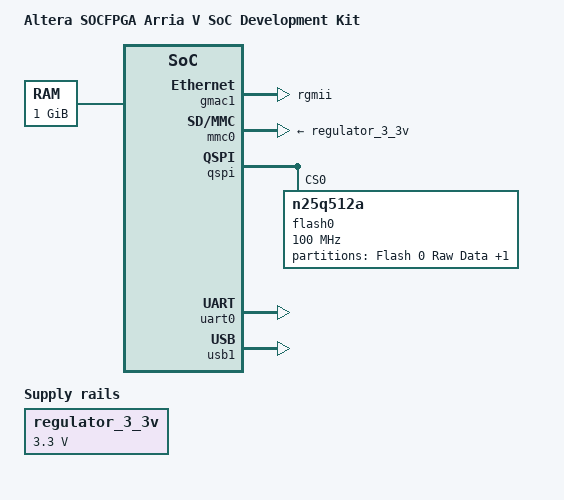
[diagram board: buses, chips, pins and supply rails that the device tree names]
/*
 *  Copyright (C) 2013 Altera Corporation <www.altera.com>
 *
 * This program is free software; you can redistribute it and/or modify
 * it under the terms of the GNU General Public License as published by
 * the Free Software Foundation; either version 2 of the License, or
 * (at your option) any later version.
 *
 * This program is distributed in the hope that it will be useful,
 * but WITHOUT ANY WARRANTY; without even the implied warranty of
 * MERCHANTABILITY or FITNESS FOR A PARTICULAR PURPOSE.  See the
 * GNU General Public License for more details.
 *
 * You should have received a copy of the GNU General Public License
 * along with this program.  If not, see <http://www.gnu.org/licenses/>.
 */

#include "socfpga_arria5.dtsi"

/ {
	model = "Altera SOCFPGA Arria V SoC Development Kit";
	compatible = "altr,socfpga-arria5", "altr,socfpga";

	chosen {
		bootargs = "earlyprintk";
		stdout-path = "serial0:115200n8";
	};

	memory {
		name = "memory";
		device_type = "memory";
		reg = <0x0 0x40000000>; /* 1GB */
	};

	aliases {
		/* this allow the ethaddr uboot environmnet variable contents
		* to be added to the gmac1 device tree blob.
		*/
		ethernet0 = &gmac1;
	};

	regulator_3_3v: 3-3-v-regulator {
		compatible = "regulator-fixed";
		regulator-name = "3.3V";
		regulator-min-microvolt = <3300000>;
		regulator-max-microvolt = <3300000>;
	};

	soc {
		clkmgr@ffd04000 {
			clocks {
				#clock-cells = <0>;
							   
				clk_0: clk_0 {
					compatible = "fixed-clock";	
					clock-frequency = <50000000>;
					clock-output-names = "clk_0-clk";
				};
				
				fft_sub_clk_0: fft_sub_clk_0 {
					compatible = "fixed-clock";
					clock-frequency = <50000000>;
					clock-output-names = "fft_sub_clk_0-clk";
				}; 
							
			};
		};
	
		base_fpga_region: base-fpga-region {
			compatible = "fpga-region";
			fpga-mgr = <&fpga_mgr0>;
			fpga-bridges = <&fpga_bridge0>, <&fpga_bridge1>,
					<&fpga_bridge2>, <&fpga_bridge3>;
	
			#address-cells = <0x2>;
			#size-cells = <0x1>;
			ranges = <0x00000000 0x00000000 0xc0000000 0x20000000>,
				<0x00000001 0x00000000 0xff200000 0x00200000>;
		};
		
	};
	
};

&gmac1 {
	status = "okay";
	phy-mode = "rgmii";

	rxd0-skew-ps = <0>;
	rxd1-skew-ps = <0>;
	rxd2-skew-ps = <0>;
	rxd3-skew-ps = <0>;
	txen-skew-ps = <0>;
	txc-skew-ps = <2600>;
	rxdv-skew-ps = <0>;
	rxc-skew-ps = <2000>;
	max-frame-size = <3800>;
};

&mmc0 {
	vmmc-supply = <&regulator_3_3v>;
	vqmmc-supply = <&regulator_3_3v>;
};

&qspi {
	status = "okay";
	flash0: n25q512a@0 {
		#address-cells = <1>;
		#size-cells = <1>;
		compatible = "n25q512a";
		reg = <0>;      /* chip select */
		spi-max-frequency = <100000000>;

		cdns,page-size = <256>;
		cdns,block-size = <16>;
		cdns,read-delay = <4>;
		cdns,tshsl-ns = <50>;
		cdns,tsd2d-ns = <50>;
		cdns,tchsh-ns = <4>;
		cdns,tslch-ns = <4>;

		partition@qspi-boot {
			/* 8MB for raw data. */
			label = "Flash 0 Raw Data";
			reg = <0x0 0x800000>;
		};

		partition@qspi-rootfs {
			/* 56MB for jffs2 data. */
			label = "Flash 0 jffs2 Filesystem";
			reg = <0x800000 0x3800000>;
		};
	};
};

&uart0 {
	status = "okay";
};

&usb1 {
	status = "okay";
};
